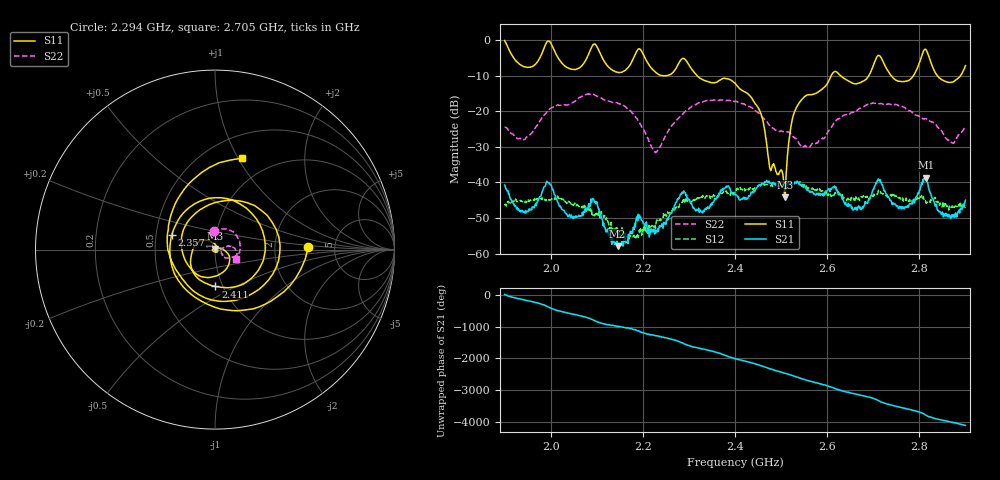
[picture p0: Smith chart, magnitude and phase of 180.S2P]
! C:\Users\rflab\Downloads\Lab5_KD_ZW\180.S2P
! Touchstone 1.1 file saved by VNA.EXE V1.65 (www.ke5fx.com/gpib/readme.htm)
! 11/12/2024 12:17:38 AM
!  Source: HEWLETT PACKARD,8753D,0,6.14
!  Min freq: 1.900000E+009 Hz
!  Max freq: 2.900000E+009 Hz
!  Points: 801
!  Params: S11 S21 S12 S22
# GHZ S RI R 50
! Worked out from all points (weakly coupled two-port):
!   801 points, 1.9 GHz to 2.9 GHz, reference 50 ohm
!   highest |S21| = -38.64 dB at 2.814 GHz (marker M1); lowest = -57.9 dB at 2.145 GHz (marker M2)
!   lowest |S11| = -44.2 dB at 2.509 GHz (marker M3), VSWR 1.01, Z = 50.1 + j0.611 ohm
!   |S11| at or under -10 dB: 2.318 GHz to 2.609 GHz (290.6 MHz wide, 11.8 % of centre); 2.629 GHz to 2.69 GHz (61.08 MHz wide, 2.3 % of centre); 2.839 GHz to 2.889 GHz (50.06 MHz wide, 1.75 % of centre) (the widest 3 of 5)
!   |S22| runs from -31.6 to -15.2 dB; largest |S21 - S12| = 0.0064
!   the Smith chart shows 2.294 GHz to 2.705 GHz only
!   S11 on the Smith chart (normalised r, x): 2.294 GHz: 3.15, +0.10; 2.357 GHz: 0.61, +0.10; 2.411 GHz: 0.92, -0.40; 2.705 GHz: 0.73, +1.04
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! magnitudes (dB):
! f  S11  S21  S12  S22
! 1.9 GHz  -0.1  -40.7  -46.1  -24.4
! 1.946 GHz  -7.6  -48.6  -45.7  -27.5
! 1.995 GHz  -0.2  -40.0  -44.7  -19.7
! 2.067 GHz  -7.2  -49.4  -46.7  -15.8
! 2.095 GHz  -1.1  -45.6  -49.4  -15.3
! 2.145 GHz  -9.0  -57.9  -52.9  -17.7
! 2.192 GHz  -2.4  -49.2  -53.4  -23.1
! 2.234 GHz  -9.6  -53.7  -50.5  -30.7
! 2.294 GHz  -5.7  -43.8  -44.9  -19.9
! 2.357 GHz  -11.9  -44.8  -43.9  -16.9
! 2.4 GHz  -12.1  -43.2  -42.4  -17.2
! 2.411 GHz  -13.7  -44.9  -41.4  -17.7
! 2.509 GHz  -44.2  -41.6  -40.0  -25.8
! 2.529 GHz  -20.3  -39.9  -40.4  -27.3
! 2.567 GHz  -15.3  -42.5  -41.5  -29.0
! 2.66 GHz  -12.3  -47.1  -44.3  -20.2
! 2.705 GHz  -5.5  -40.6  -43.7  -17.8
! 2.734 GHz  -9.1  -44.3  -44.1  -17.9
! 2.777 GHz  -11.3  -46.4  -45.4  -19.8
! 2.814 GHz  -2.6  -38.6  -45.2  -22.1
! 2.851 GHz  -11.2  -48.7  -45.7  -26.1
! 2.9 GHz  -7.2  -45.0  -47.2  -24.4
